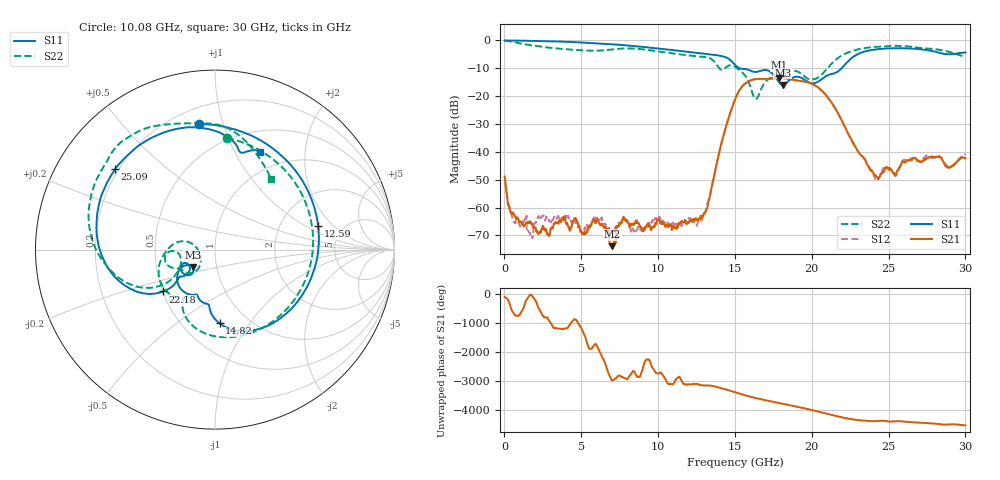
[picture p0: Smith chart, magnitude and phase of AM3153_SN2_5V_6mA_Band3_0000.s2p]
!Agilent Technologies,E8364B,MY43040894,A.07.50.67
!Agilent E8364B: A.07.50.67
!Date: Wednesday, May 13, 2020 06:20:09
!Correction: S11(Full 2 Port(1,2))
!S21(Full 2 Port(1,2))
!S12(Full 2 Port(1,2))
!S22(Full 2 Port(1,2))
!S2P File: Measurements: S11, S21, S12, S22:
# Hz S  dB  R 50
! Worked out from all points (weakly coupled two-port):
!   1601 points, 10 MHz to 30 GHz, reference 50 ohm
!   highest |S21| = -13.42 dB at 17.89 GHz (marker M1); lowest = -73.9 dB at 7.02 GHz (marker M2)
!   lowest |S11| = -16.1 dB at 18.12 GHz (marker M3), VSWR 1.37, Z = 38.3 - j7.56 ohm
!   |S11| at or under -10 dB: 15.27 GHz to 21.95 GHz (6.681 GHz wide, 35.9 % of centre)
!   |S22| runs from -21.1 to -0.1 dB; largest |S21 - S12| = 0.0064
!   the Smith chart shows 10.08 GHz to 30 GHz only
!   S11 on the Smith chart (normalised r, x): 10.08 GHz: 0.30, +0.84; 12.59 GHz: 3.28, +1.34; 14.82 GHz: 0.74, -0.73; 22.18 GHz: 0.50, -0.27; 25.09 GHz: 0.19, +0.34; 30 GHz: 0.74, +1.27
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1e7  -0.11 -2.2  -48.92 -117.9  -50.74 82.1  -0.14 -5.0
1.115881e9  -0.18 -32.4  -65.61 105.9  -66.12 14.7  -1.29 -80.9
2.521662e9  -0.32 -71.6  -66.69 -55.8  -62.75 -89.6  -2.44 -159.8
5.014581e9  -0.81 -135.6  -68.44 -116.4  -68.68 -50.2  -3.61 80.8
6.195438e9  -1.17 -164.1  -65.85 163.0  -64.97 -136.8  -3.72 6.4
7.020162e9  -1.47 176.1  -73.86 -91.5  -68.48 76.7  -3.31 -61.4
8.350969e9  -2.07 143.4  -65.98 -143.2  -67.72 -144.0  -2.95 -172.9
1.001916e10  -2.99 98.8  -64.19 144.7  -63.85 127.6  -4.03 86.8
1.007539e10  -3.02 97.2  -64.25 143.8  -63.19 110.6  -4.08 83.9
1.258706e10  -4.59 13.0  -64.56 134.1  -65.39 130.8  -5.76 -47.7
1.318686e10  -4.96 -10.8  -60.34 93.3  -58.92 101.7  -6.15 -83.1
1.481756e10  -7.71 -86.5  -24.09 -106.1  -24.08 -105.0  -9.00 -147.7
1.5005e10  -8.81 -92.7  -21.29 -135.7  -21.26 -134.8  -9.48 -159.5
1.635455e10  -11.37 -112.3  -13.91 21.5  -13.95 21.3  -21.07 -164.0
1.789154e10  -15.24 -150.3  -13.42 -149.7  -13.51 -148.8  -12.90 -152.3
1.811646e10  -16.06 -142.3  -13.50 -175.0  -13.58 -174.2  -12.36 -154.1
2.000958e10  -15.47 -150.4  -15.62 -28.4  -15.65 -27.9  -14.11 -165.8
2.218386e10  -8.61 -141.0  -31.42 54.9  -31.53 56.0  -4.82 -165.9
2.417069e10  -3.30 164.0  -48.76 -49.0  -50.01 -35.9  -2.38 153.1
2.501416e10  -2.94 143.0  -45.96 -64.1  -46.37 -51.9  -2.10 138.0
2.508914e10  -2.92 141.3  -45.89 -62.7  -46.67 -56.1  -2.05 136.6
3e10  -4.42 65.3  -42.37 163.5  -40.79 160.1  -5.97 51.9
